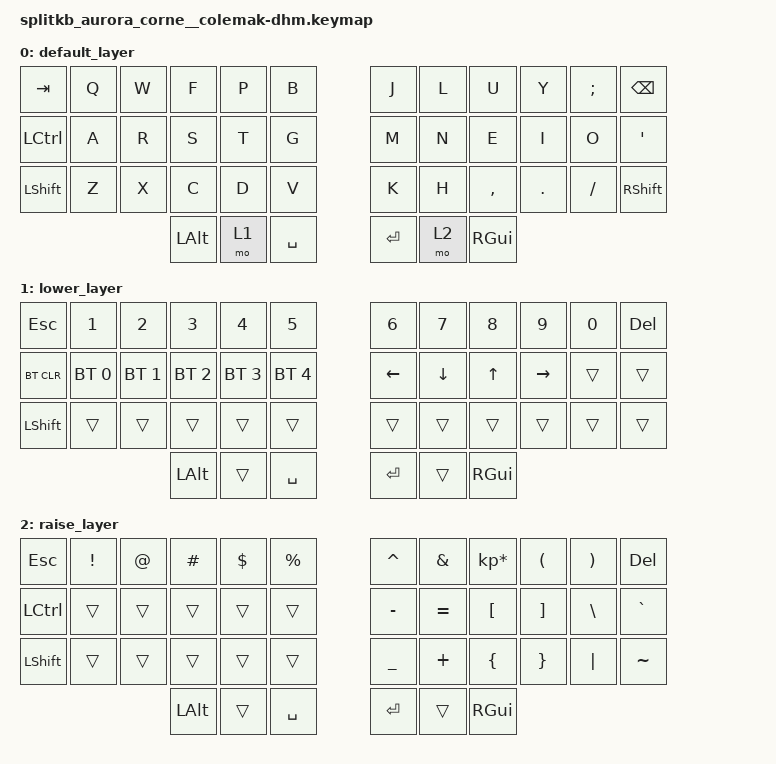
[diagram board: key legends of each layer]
/*
 * Copyright (c) 2020 The ZMK Contributors
 *
 * SPDX-License-Identifier: MIT
 */

#include <behaviors.dtsi>
#include <dt-bindings/zmk/keys.h>
#include <dt-bindings/zmk/bt.h>

/ {
        keymap {
                compatible = "zmk,keymap";

                default_layer {
// -----------------------------------------------------------------------------------------
// |  TAB |  Q  |  W  |  E  |  R  |  T  |   |  Y  |  U   |  I  |  O  |  P  | BKSP |
// | CTRL |  A  |  S  |  D  |  F  |  G  |   |  H  |  J   |  K  |  L  |  ;  |  '   |
// | SHFT |  Z  |  X  |  C  |  V  |  B  |   |  N  |  M   |  ,  |  .  |  /  | ESC  |
//                    | GUI | LWR | SPC |   | ENT | RSE  | ALT |
                        bindings = <
   &kp TAB   &kp Q &kp W &kp F &kp P &kp B   &kp J &kp L  &kp U     &kp Y   &kp SEMI    &kp BSPC
   &kp LCTRL &kp A &kp R &kp S &kp T &kp G   &kp M &kp N  &kp E     &kp I   &kp O &kp SQT
   &kp LSHFT &kp Z &kp X &kp C &kp D &kp V   &kp K &kp H  &kp COMMA &kp DOT &kp FSLH &kp RSHFT
                  &kp LALT &mo 1 &kp SPACE   &kp RET &mo 2 &kp RGUI
                        >;
                };
                lower_layer {
// -----------------------------------------------------------------------------------------
// |  TAB |  1  |  2  |  3  |  4  |  5  |   |  6  |  7  |  8  |  9  |  0  | BKSP |
// | BTCLR| BT1 | BT2 | BT3 | BT4 | BT5 |   | LFT | DWN |  UP | RGT |     |      |
// | SHFT |     |     |     |     |     |   |     |     |     |     |     |      |
//                    | GUI |     | SPC |   | ENT |     | ALT |
                        bindings = <
   &kp ESC    &kp N1       &kp N2       &kp N3       &kp N4       &kp N5         &kp N6   &kp N7   &kp N8 &kp N9    &kp N0 &kp DEL
   &bt BT_CLR &bt BT_SEL 0 &bt BT_SEL 1 &bt BT_SEL 2 &bt BT_SEL 3 &bt BT_SEL 4   &kp LEFT &kp DOWN &kp UP &kp RIGHT &trans &trans
   &kp LSHFT  &trans       &trans       &trans       &trans       &trans         &trans   &trans   &trans &trans    &trans &trans
                          	        &kp LALT     &trans       &kp SPACE      &kp RET  &trans   &kp RGUI
                        >;
                };

                raise_layer {
// -----------------------------------------------------------------------------------------
// |  TAB |  !  |  @  |  #  |  $  |  %  |   |  ^  |  &  |  *  |  (  |  )  | BKSP |
// | CTRL |     |     |     |     |     |   |  -  |  =  |  [  |  ]  |  \  |  `   |
// | SHFT |     |     |     |     |     |   |  _  |  +  |  {  |  }  | "|" |  ~   |
//                    | GUI |     | SPC |   | ENT |     | ALT |
                        bindings = <
   &kp  ESC  &kp EXCL &kp AT &kp HASH &kp DLLR &kp PRCNT   &kp CARET &kp AMPS  &kp KP_MULTIPLY &kp LPAR &kp RPAR &kp DEL
   &kp LCTRL &trans   &trans &trans   &trans   &trans      &kp MINUS &kp EQUAL &kp LBKT        &kp RBKT &kp BSLH &kp GRAVE
   &kp LSHFT &trans   &trans &trans   &trans   &trans      &kp UNDER &kp PLUS  &kp LBRC        &kp RBRC &kp PIPE &kp TILDE
                    	     &kp LALT &trans   &kp SPACE   &kp RET   &trans    &kp RGUI
                        >;
                };
        };
};
